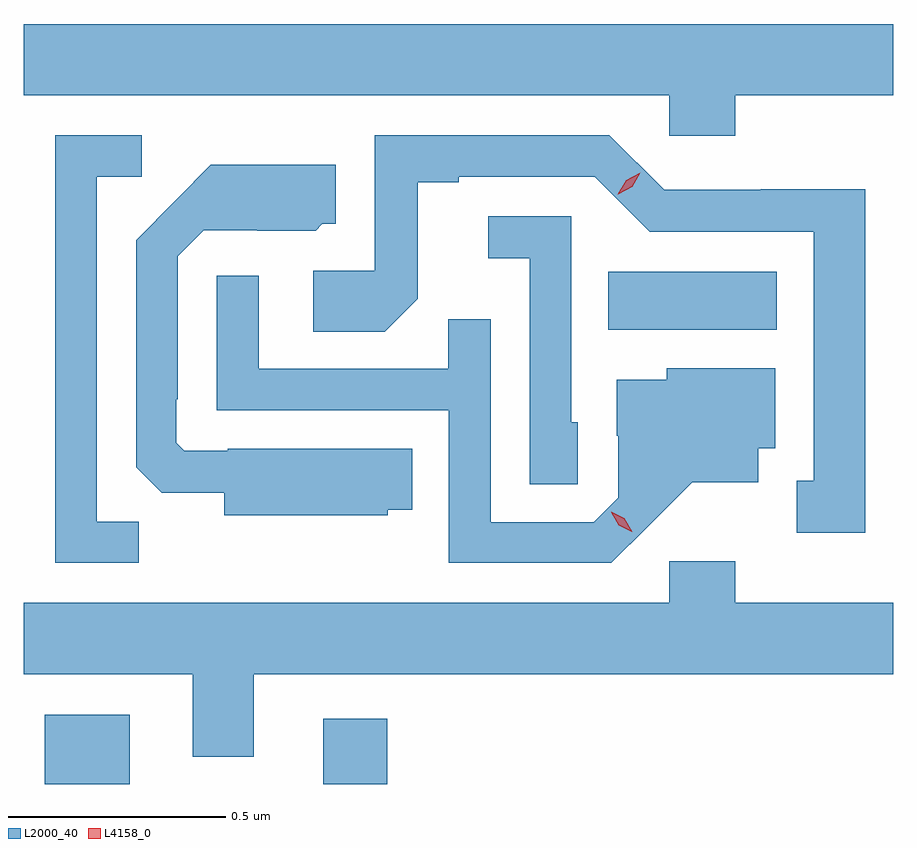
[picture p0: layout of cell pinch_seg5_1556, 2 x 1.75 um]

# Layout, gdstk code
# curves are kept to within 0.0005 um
import gdstk
lib = gdstk.Library(unit=1e-6, precision=1e-09)
def R(c, l, rs):  # rectangles x0, y0, x1, y1
    for r in rs: c.add(gdstk.rectangle(r[:2], r[2:], *l))
def P(c, l, *ps):  # polygons
    for p in ps: c.add(gdstk.Polygon(p, *l))
L2000_40 = (2000, 40)
L4158_0 = (4158, 0)

pinch_seg5_1556 = lib.new_cell('pinch_seg5_1556')
R(pinch_seg5_1556, L2000_40, [(314.115,847.183,314.311,847.342), (314.756,847.183,314.903,847.333), (315.412,848.228,315.799,848.362)])
P(pinch_seg5_1556, L2000_40, [(315.704,848.768),(316.067,848.768),(316.067,848.932),(314.067,848.932),(314.067,848.768),(315.552,848.768),(315.552,848.675),(315.704,848.675)],
  [(316.003,848.552),(315.762,848.552),(315.762,848.55),(315.54,848.55),(315.414,848.676),(314.874,848.676),(314.874,848.364),(314.733,848.364),(314.733,848.224),(314.897,848.224),(314.973,848.3),(314.973,848.568),(315.067,848.568),(315.067,848.58),(315.381,848.58),(315.507,848.454),(315.884,848.454),(315.884,847.881),(315.845,847.881),(315.845,847.761),(316.003,847.761)],
  [(314.331,847.787),(314.235,847.787),(314.235,848.58),(314.338,848.58),(314.338,848.676),(314.139,848.676),(314.139,847.692),(314.331,847.692)],
  [(314.904,847.814),(314.96,847.814),(314.96,847.954),(314.536,847.954),(314.536,847.95),(314.436,847.95),(314.418,847.968),(314.418,848.068),(314.421,848.068),(314.421,848.397),(314.481,848.457),(314.604,848.457),(314.604,848.456),(314.738,848.456),(314.754,848.472),(314.785,848.472),(314.785,848.608),(314.497,848.608),(314.325,848.434),(314.325,847.912),(314.384,847.853),(314.528,847.853),(314.528,847.802),(314.904,847.802)],
  [(315.342,848.016),(315.327,848.016),(315.327,848.49),(315.135,848.49),(315.135,848.393),(315.231,848.393),(315.231,847.873),(315.342,847.873)],
  [(315.502,847.775),(315.605,847.877),(315.757,847.877),(315.757,847.956),(315.796,847.956),(315.796,848.14),(315.546,848.14),(315.546,848.113),(315.431,848.113),(315.431,847.984),(315.435,847.984),(315.435,847.842),(315.378,847.785),(315.141,847.785),(315.141,848.252),(315.043,848.252),(315.043,848.139),(314.607,848.139),(314.607,848.353),(314.511,848.353),(314.511,848.043),(315.045,848.043),(315.045,847.692),(315.418,847.692)],
  [(314.596,847.436),(316.067,847.436),(316.067,847.6),(315.704,847.6),(315.704,847.696),(315.552,847.696),(315.552,847.6),(314.067,847.6),(314.067,847.436),(314.456,847.436),(314.456,847.246),(314.596,847.246)])
P(pinch_seg5_1556, L4158_0, [(315.466,847.764),(315.436,847.779),(315.418,847.808),(315.418,847.809),(315.419,847.809),(315.449,847.794),(315.467,847.764),(315.467,847.764)],
  [(315.434,848.54),(315.434,848.54),(315.453,848.572),(315.485,848.59),(315.485,848.59),(315.485,848.59),(315.467,848.558),(315.435,848.54)])

lib.write_gds('pinch_seg5_1556.gds')
